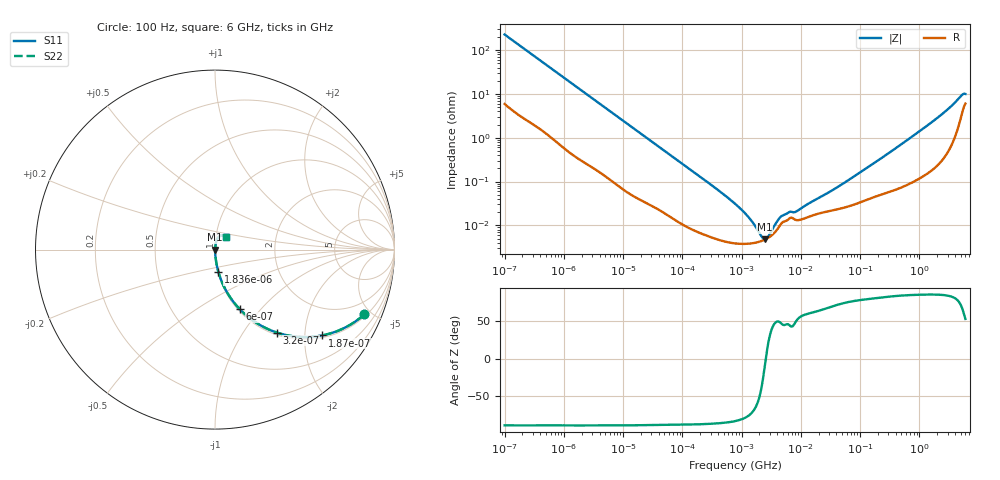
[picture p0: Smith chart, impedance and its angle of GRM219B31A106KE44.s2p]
!Murata Part Number: GRM219B31A106KE44
!These Parameters are Measured in Series Mode Connection
!Data Generated on Mar 30, 2021
!  o--ll--o
!Port1  Port2
!  o------o
!Operation Temp=25[degC], DC Bias Voltage=0[V]
!Freq. Start=100[Hz] Stop=6[GHz] 401[Steps]
# Hz S RI R 50
!Freq.(Hz) S11(Real) S11(Imag) S21(Real) S21(Imag) S12(Real) S12(Imag) S22(Real) S22(Imag)
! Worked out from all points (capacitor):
!   401 points, 100 Hz to 6 GHz, reference 50 ohm
!   read as one part in series: C = 6.97 uF near 109 Hz
!   lowest |Z| = 4.79 mohm at 2.481 MHz (marker M1)
!   series resonance near 2.565 MHz, so ESL is about 550 pH
!   S11 on the Smith chart (normalised r, x): 100 Hz: 1.12, -4.55; 187 Hz: 1.06, -2.45; 320 Hz: 1.04, -1.44; 600 Hz: 1.02, -0.78; 1.836 kHz: 1.01, -0.26; 6 GHz: 1.12, +0.16
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100  0.8315 -0.3615  0.1685 0.3615  0.1685 0.3615  0.8315 -0.3615
187  0.5975 -0.478  0.4025 0.478  0.4025 0.478  0.5975 -0.478
320  0.3463 -0.4627  0.6537 0.4627  0.6537 0.4627  0.3463 -0.4627
600  0.1386 -0.3326  0.8614 0.3326  0.8614 0.3326  0.1386 -0.3326
981  0.0596 -0.2247  0.9404 0.2247  0.9404 0.2247  0.0596 -0.2247
1836  0.0195 -0.1265  0.9805 0.1265  0.9805 0.1265  0.0195 -0.1265
2008  0.0167 -0.1162  0.9833 0.1162  0.9833 0.1162  0.0167 -0.1162
6433  0.00244 -0.0376  0.9976 0.0376  0.9976 0.0376  0.00244 -0.0376
40335  0.000265 -0.00621  0.9997 0.00621  0.9997 0.00621  0.000265 -0.00621
774597  3.89e-05 -0.00031  1 0.00031  1 0.00031  3.89e-05 -0.00031
1658239  3.99e-05 -9.33e-05  1 9.33e-05  1 9.33e-05  3.99e-05 -9.33e-05
2481164  4.74e-05 -6.9e-06  1 6.9e-06  1 6.9e-06  4.74e-05 -6.9e-06
3394479  6.28e-05 5.95e-05  0.9999 -5.95e-05  0.9999 -5.95e-05  6.28e-05 5.95e-05
4856642  0.000116 0.00012  0.9999 -0.00012  0.9999 -0.00012  0.000116 0.00012
6353432  0.000142 0.000143  0.9999 -0.000143  0.9999 -0.000143  0.000142 0.000143
8311524  0.000133 0.000158  0.9999 -0.000158  0.9999 -0.000158  0.000133 0.000158
1.555665e7  0.000168 0.000308  0.9998 -0.000308  0.9998 -0.000308  0.000168 0.000308
4.556224e7  0.00024 0.00077  0.9998 -0.00077  0.9998 -0.00077  0.00024 0.00077
3.124326e8  0.0006 0.00453  0.9994 -0.00453  0.9994 -0.00453  0.0006 0.00453
1.712697e9  0.00247 0.0238  0.9975 -0.0238  0.9975 -0.0238  0.00247 0.0238
5.016141e9  0.0338 0.0792  0.9662 -0.0792  0.9662 -0.0792  0.0338 0.0792
6e9  0.062 0.0707  0.938 -0.0707  0.938 -0.0707  0.062 0.0707
